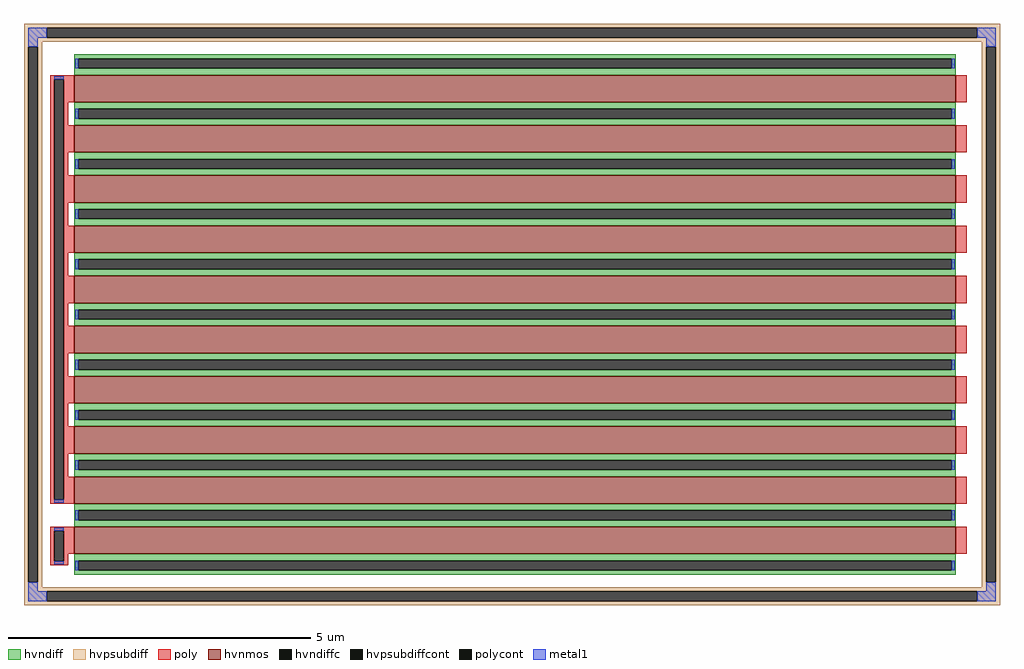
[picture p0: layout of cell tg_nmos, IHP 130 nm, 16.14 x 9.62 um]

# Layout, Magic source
magic
tech ihp-sg13cmos5l
<< hvnmos >>
rect 83 832 1541 877
rect 83 749 1541 794
rect 83 666 1541 711
rect 83 583 1541 628
rect 83 500 1541 545
rect 83 417 1541 462
rect 83 334 1541 379
rect 83 251 1541 296
rect 83 168 1541 213
rect 83 85 1541 130
<< hvndiff >>
rect 83 904 1541 911
rect 83 888 90 904
rect 1534 888 1541 904
rect 83 877 1541 888
rect 83 821 1541 832
rect 83 805 90 821
rect 1534 805 1541 821
rect 83 794 1541 805
rect 83 738 1541 749
rect 83 722 90 738
rect 1534 722 1541 738
rect 83 711 1541 722
rect 83 655 1541 666
rect 83 639 90 655
rect 1534 639 1541 655
rect 83 628 1541 639
rect 83 572 1541 583
rect 83 556 90 572
rect 1534 556 1541 572
rect 83 545 1541 556
rect 83 489 1541 500
rect 83 473 90 489
rect 1534 473 1541 489
rect 83 462 1541 473
rect 83 406 1541 417
rect 83 390 90 406
rect 1534 390 1541 406
rect 83 379 1541 390
rect 83 323 1541 334
rect 83 307 90 323
rect 1534 307 1541 323
rect 83 296 1541 307
rect 83 240 1541 251
rect 83 224 90 240
rect 1534 224 1541 240
rect 83 213 1541 224
rect 83 157 1541 168
rect 83 141 90 157
rect 1534 141 1541 157
rect 83 130 1541 141
rect 83 74 1541 85
rect 83 58 90 74
rect 1534 58 1541 74
rect 83 51 1541 58
<< hvndiffc >>
rect 90 888 1534 904
rect 90 805 1534 821
rect 90 722 1534 738
rect 90 639 1534 655
rect 90 556 1534 572
rect 90 473 1534 489
rect 90 390 1534 406
rect 90 307 1534 323
rect 90 224 1534 240
rect 90 141 1534 157
rect 90 58 1534 74
<< hvpsubdiff >>
rect 0 955 1614 962
rect 0 939 38 955
rect 1576 939 1614 955
rect 0 932 1614 939
rect 0 924 30 932
rect 0 38 7 924
rect 23 38 30 924
rect 1584 924 1614 932
rect 0 30 30 38
rect 1584 38 1591 924
rect 1607 38 1614 924
rect 1584 30 1614 38
rect 0 23 1614 30
rect 0 7 38 23
rect 1576 7 1614 23
rect 0 0 1614 7
<< hvpsubdiffcont >>
rect 38 939 1576 955
rect 7 38 23 924
rect 1591 38 1607 924
rect 38 7 1576 23
<< poly >>
rect 43 870 83 877
rect 43 175 50 870
rect 66 832 83 870
rect 1541 832 1559 877
rect 66 794 73 832
rect 66 749 83 794
rect 1541 749 1559 794
rect 66 711 73 749
rect 66 666 83 711
rect 1541 666 1559 711
rect 66 628 73 666
rect 66 583 83 628
rect 1541 583 1559 628
rect 66 545 73 583
rect 66 500 83 545
rect 1541 500 1559 545
rect 66 462 73 500
rect 66 417 83 462
rect 1541 417 1559 462
rect 66 379 73 417
rect 66 334 83 379
rect 1541 334 1559 379
rect 66 296 73 334
rect 66 251 83 296
rect 1541 251 1559 296
rect 66 213 73 251
rect 66 175 83 213
rect 43 168 83 175
rect 1541 168 1559 213
rect 43 123 83 130
rect 43 73 50 123
rect 66 85 83 123
rect 1541 85 1559 130
rect 66 73 73 85
rect 43 66 73 73
<< polycont >>
rect 50 175 66 870
rect 50 73 66 123
<< metal1 >>
rect 7 939 38 955
rect 1576 939 1607 955
rect 7 924 23 939
rect 1591 924 1607 939
rect 85 888 90 904
rect 1534 888 1539 904
rect 50 870 66 875
rect 85 805 90 821
rect 1534 805 1539 821
rect 85 722 90 738
rect 1534 722 1539 738
rect 85 639 90 655
rect 1534 639 1539 655
rect 85 556 90 572
rect 1534 556 1539 572
rect 85 473 90 489
rect 1534 473 1539 489
rect 85 390 90 406
rect 1534 390 1539 406
rect 85 307 90 323
rect 1534 307 1539 323
rect 85 224 90 240
rect 1534 224 1539 240
rect 50 170 66 175
rect 85 141 90 157
rect 1534 141 1539 157
rect 50 123 66 128
rect 50 68 66 73
rect 85 58 90 74
rect 1534 58 1539 74
rect 7 23 23 38
rect 1591 23 1607 38
rect 7 7 38 23
rect 1576 7 1607 23
<< properties >>
string FIXED_BBOX 0 0 1614 962
<< end >>
